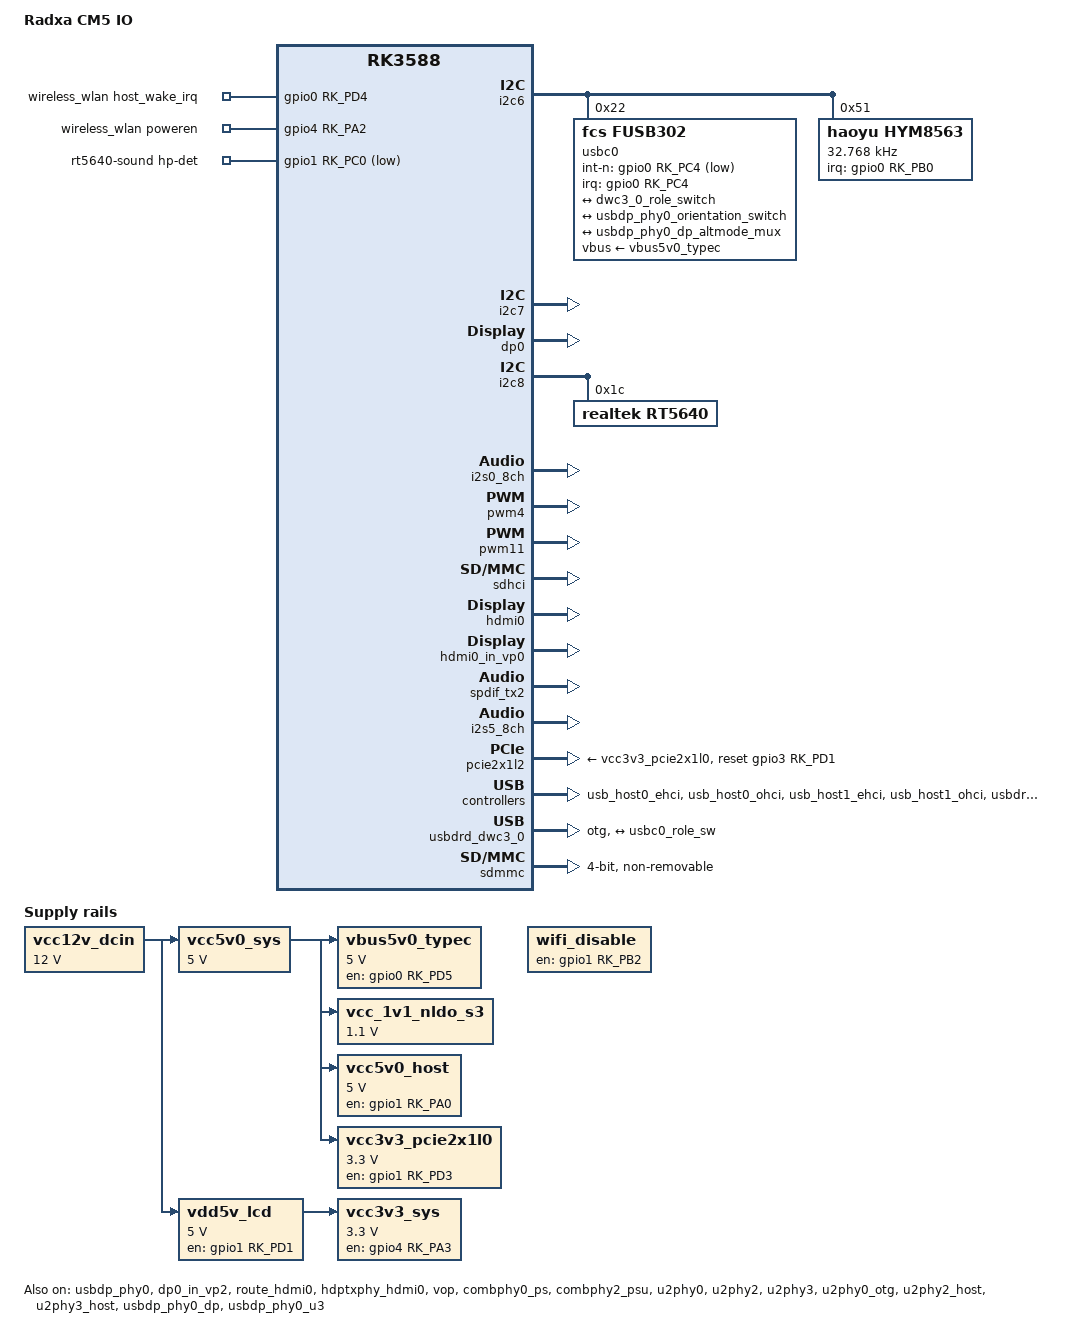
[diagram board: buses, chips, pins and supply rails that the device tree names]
// SPDX-License-Identifier: (GPL-2.0+ OR MIT)
/*
 * Copyright (c) 2023 Rockchip Electronics Co., Ltd.
 * Copyright (c) 2023 Radxa Limited
 *
 */

/dts-v1/;

#include "rk3588s-radxa-cm5.dtsi"

/ {
	model = "Radxa CM5 IO";
	compatible = "radxa,cm5-io", "radxa,cm5", "rockchip,rk3588";

	

sdio_pwrseq:sdio-pwrseq {
		compatible = "mmc-pwrseq-simple";
		clocks = < &hym8563 >;
		clock-names = "ext_clock";
		pinctrl-names = "default";
		pinctrl-0 = < &wifi_enable_h >;
		//reset-gpios = < &gpio4 RK_PA2 GPIO_ACTIVE_LOW >;
		
	};

	
wireless_wlan: wireless-wlan {
        compatible = "wlan-platdata";
		/* wifi_chip_type - wifi chip define
		* ap6210, ap6330, ap6335
		* rtl8188eu, rtl8723bs, rtl8723bu
		* esp8089
		*/
        wifi_chip_type = "rtl8821cs";  // 模块名称
        pinctrl-names = "default";
        pinctrl-0 = <&wifi_host_wake_irq>;  ///<&wifi_poweren_gpio>;
        WIFI,host_wake_irq = <&gpio0 RK_PD4 GPIO_ACTIVE_HIGH>; // wifi模块唤醒CPU
        WIFI,poweren_gpio = <&gpio4 RK_PA2 GPIO_ACTIVE_HIGH>;  // 控制wifi模块电源
        status = "okay";
};



	/delete-node/ chosen;


	vcc12v_dcin: vcc12v-dcin {
		compatible = "regulator-fixed";
		regulator-name = "vcc12v_dcin";
		regulator-always-on;
		regulator-boot-on;
		regulator-min-microvolt = <12000000>;
		regulator-max-microvolt = <12000000>;
	};

	vcc5v0_sys: vcc5v0-sys {
		compatible = "regulator-fixed";
		regulator-name = "vcc5v0_sys";
		regulator-always-on;
		regulator-boot-on;
		regulator-min-microvolt = <5000000>;
		regulator-max-microvolt = <5000000>;
		vin-supply = <&vcc12v_dcin>;
	};

	vbus5v0_typec: vbus5v0-typec {
		compatible = "regulator-fixed";
		regulator-name = "vbus5v0_typec";
		gpio = <&gpio0 RK_PD5 GPIO_ACTIVE_HIGH>;
		pinctrl-names = "default";
		pinctrl-0 = <&vbus5v0_typec_en>;
		enable-active-high;
		regulator-min-microvolt = <5000000>;
		regulator-max-microvolt = <5000000>;
		vin-supply = <&vcc5v0_sys>;
	};

	vcc_1v1_nldo_s3: vcc-1v1-nldo-s3 {
		compatible = "regulator-fixed";
		regulator-name = "vcc_1v1_nldo_s3";
		regulator-always-on;
		regulator-boot-on;
		regulator-min-microvolt = <1100000>;
		regulator-max-microvolt = <1100000>;
		vin-supply = <&vcc5v0_sys>;
	};

	hdmi0_sound: hdmi0-sound {
		status = "okay";
		compatible = "rockchip,hdmi";
		rockchip,mclk-fs = <128>;
		rockchip,card-name = "rockchip-hdmi0";
		rockchip,cpu = <&i2s5_8ch>;
		rockchip,codec = <&hdmi0>;
		rockchip,jack-det;
	};

	dp0_sound: dp0-sound {
		status = "okay";
		compatible = "rockchip,hdmi";
		rockchip,card-name= "rockchip-hdmi1";
		rockchip,mclk-fs = <512>;
		rockchip,cpu = <&spdif_tx2>;
		rockchip,codec = <&dp0 1>;
		rockchip,jack-det;
	};

	
	vdd5v_lcd: vcc5v-lcd {
		compatible = "regulator-fixed";
		regulator-name = "vdd5v_lcd";
		regulator-always-on;
		regulator-boot-on;
		regulator-min-microvolt = <5000000>;
		regulator-max-microvolt = <5000000>;
		enable-active-high;
		gpio = <&gpio1 RK_PD1 GPIO_ACTIVE_HIGH>;
		pinctrl-names = "default";
		pinctrl-0 = <&vdd5v_lcd_en>;
		vin-supply = <&vcc12v_dcin>;
	};

	

		
	rt5640-sound {
		compatible = "rockchip,multicodecs-card";
		rockchip,card-name = "rockchip,rt5640-codec";
		
		hp-det-gpio = <&gpio1 RK_PC0 GPIO_ACTIVE_LOW>;  // 耳机插入检测 GPIO
		
		rockchip,format = "i2s";
		rockchip,mclk-fs = <256>;
		rockchip,cpu = <&i2s0_8ch>;
		rockchip,codec = <&rt5640>;  // 使用 RT5640 编解码器

		rockchip,audio-routing =
			// 耳机和扬声器路径
			"Headphone", "HPOL",
			"Headphone", "HPOR",
			"Speaker", "SPOLP",
			"Speaker", "SPORP",
			"Headphone", "Headphone Power",
			"Headphone", "Headphone Power",
			"Speaker", "Speaker Power",
			"Speaker", "Speaker Power",
			"IN1P", "Main Mic",
			"IN2P", "Headset Mic";
			

		pinctrl-names = "default";
		pinctrl-0 = <&hp_det>;
	};



	vcc3v3_sys: vcc3v3-sys {
		compatible = "regulator-fixed";
		regulator-name = "vcc3v3_sys";
		regulator-always-on;
		regulator-boot-on;
		regulator-min-microvolt = <3300000>;
		regulator-max-microvolt = <3300000>;
		enable-active-high;
		gpio = <&gpio4 RK_PA3 GPIO_ACTIVE_HIGH>;
		pinctrl-names = "default";
		pinctrl-0 = <&vcc3v3_sys_en>;
		vin-supply = <&vdd5v_lcd>;
	};

	vcc5v0_host: vcc5v0-host-regulator {
		compatible = "regulator-fixed";
		regulator-name = "vcc5v0_host";
		regulator-boot-on;
		regulator-always-on;
		regulator-min-microvolt = <5000000>;
		regulator-max-microvolt = <5000000>;
		enable-active-high;
		gpio = <&gpio1 RK_PA0 GPIO_ACTIVE_HIGH>;
		pinctrl-names = "default";
		pinctrl-0 = <&vcc5v0_host_en>;
		vin-supply = <&vcc5v0_sys>;
	};

	vcc3v3_pcie2x1l0: vcc3v3-pcie2x1l0 {
		compatible = "regulator-fixed";
		regulator-name = "vcc3v3_pcie2x1l0";
		regulator-min-microvolt = <3300000>;
		regulator-max-microvolt = <3300000>;
		enable-active-high;
		regulator-boot-on;
		regulator-always-on;
		gpios = <&gpio1 RK_PD3 GPIO_ACTIVE_HIGH>;
		startup-delay-us = <50000>;
		vin-supply = <&vcc5v0_sys>;
	};

	wifi_disable: wifi-diable-gpio-regulator {
		compatible = "regulator-fixed";
		regulator-name = "wifi_disable";
		enable-active-high;
		gpio = <&gpio1 RK_PB2 GPIO_ACTIVE_HIGH>;
		regulator-boot-on;
		regulator-always-on;
	};

};

&i2c6 {
	status = "okay";
	pinctrl-names = "default";
	pinctrl-0 = <&i2c6m3_xfer>;

	usbc0: fusb302@22 {
		compatible = "fcs,fusb302";
		reg = <0x22>;
		interrupt-parent = <&gpio0>;
		interrupts = <RK_PC4 IRQ_TYPE_LEVEL_LOW>;
		int-n-gpios = <&gpio0 RK_PC4 GPIO_ACTIVE_LOW>;
		pinctrl-names = "default";
		pinctrl-0 = <&usbc0_int>;
		vbus-supply = <&vbus5v0_typec>;
		status = "okay";

		ports {
			#address-cells = <1>;
			#size-cells = <0>;
			port@0 {
			reg = <0>;
			usbc0_role_sw: endpoint@0 {
				remote-endpoint = <&dwc3_0_role_switch>;
				};
			};
		};

		usb_con: connector {
			compatible = "usb-c-connector";
			label = "USB-C";
			data-role = "dual";
			power-role = "dual";
			try-power-role = "sink";
			op-sink-microwatt = <1000000>;

			sink-pdos =
				<PDO_FIXED(5000, 1000, PDO_FIXED_USB_COMM)>;
			source-pdos =
				<PDO_FIXED(5000, 3000, PDO_FIXED_USB_COMM)>;

			altmodes {
				#address-cells = <1>;
				#size-cells = <0>;

				altmode@0 {
					reg = <0>;
					svid = <0xff01>;
					vdo = <0xffffffff>;
				};
			};

			ports {
				#address-cells = <1>;
				#size-cells = <0>;

				port@0 {
					reg = <0>;
					usbc0_orien_sw: endpoint {
						remote-endpoint = <&usbdp_phy0_orientation_switch>;
					};
				};

				port@1 {
					reg = <1>;
					dp_altmode_mux: endpoint {
						remote-endpoint = <&usbdp_phy0_dp_altmode_mux>;
					};
				};
			};
		};
	};

	hym8563: hym8563@51 {
		compatible = "haoyu,hym8563";
		reg = <0x51>;
		#clock-cells = <0>;
		clock-frequency = <32768>;
		clock-output-names = "hym8563";
		pinctrl-names = "default";
		pinctrl-0 = <&rtc_int>;
		interrupt-parent = <&gpio0>;
		interrupts = <RK_PB0 IRQ_TYPE_LEVEL_LOW>;
	};
};

&i2c7 {
	status = "okay";
	pinctrl-names = "default";
	pinctrl-0 = <&i2c7m2_xfer>;
};


&usbdp_phy0 {
	status = "okay";
	orientation-switch;
	svid = <0xff01>;
	sbu1-dc-gpios = <&gpio3 RK_PC4 GPIO_ACTIVE_HIGH>;
	sbu2-dc-gpios = <&gpio3 RK_PD4 GPIO_ACTIVE_HIGH>;

	port {
		#address-cells = <1>;
		#size-cells = <0>;
		usbdp_phy0_orientation_switch: endpoint@0 {
			reg = <0>;
			remote-endpoint = <&usbc0_orien_sw>;
		};

		usbdp_phy0_dp_altmode_mux: endpoint@1 {
			reg = <1>;
			remote-endpoint = <&dp_altmode_mux>;
		};
	};
}; 

&dp0 {
	status = "okay";
};

&dp0_in_vp2 {
	status = "okay";
};



&i2c8 {
	status = "okay";
	pinctrl-0 = <&i2c8m2_xfer>;
   
		rt5640: rt5640@1c {
		compatible = "realtek,rt5640";
		reg = <0x1c>;
		clocks = <&mclkout_i2s0>;
		clock-names = "mclk";
        realtek,in1-differential;
        realtek,in2-differential;
		assigned-clocks = <&mclkout_i2s0>;
		assigned-clock-rates = <12288000>;
		pinctrl-names = "default";
		pinctrl-0 = <&i2s0_mclk>;
		sound-dai-cells = <0>;
		status = "okay";
	};
	
};

&i2s0_8ch {
	status = "okay";
	rockchip,playback-channels = <2>;
	rockchip,capture-channels = <2>;
	#sound-dai-cells = <0>;
	pinctrl-names = "default";
	pinctrl-0 = <&i2s0_lrck
			 &i2s0_sclk
			 &i2s0_sdi0
			 &i2s0_sdo0>;
};


&pwm4 {
	status = "okay";
	pinctrl-0 = <&pwm4m0_pins>;
};

&pwm11 {
	status = "okay";
	pinctrl-0 = <&pwm11m3_pins>;
};

&threshold {
	temperature = <60000>;
};


&sdhci {
	status = "okay";
};

&hdmi0 {
	status = "okay";
};

&hdmi0_in_vp0 {
	status = "okay";
};

&route_hdmi0 {
	status = "okay";
};

&spdif_tx2 {
	status = "okay";
};

&hdptxphy_hdmi0 {
	status = "okay";
};

&i2s5_8ch {
	status = "okay";
};

&vop {
	status = "okay";
};

&vop_mmu {
	status = "okay";
};

&vp0 {
	rockchip,plane-mask = <(1 << ROCKCHIP_VOP2_CLUSTER0 | 1 << ROCKCHIP_VOP2_ESMART0)>;
	rockchip,primary-plane = <ROCKCHIP_VOP2_CLUSTER0>;
	cursor-win-id =<ROCKCHIP_VOP2_ESMART0>;
};

&vp1 {
	rockchip,plane-mask = <(1 << ROCKCHIP_VOP2_CLUSTER1 | 1 << ROCKCHIP_VOP2_ESMART1)>;
	rockchip,primary-plane = <ROCKCHIP_VOP2_CLUSTER1>;
	cursor-win-id =<ROCKCHIP_VOP2_ESMART1>;
};

&vp2 {
	rockchip,plane-mask = <(1 << ROCKCHIP_VOP2_CLUSTER2 | 1 << ROCKCHIP_VOP2_ESMART2)>;
	rockchip,primary-plane = <ROCKCHIP_VOP2_CLUSTER2>;
	cursor-win-id =<ROCKCHIP_VOP2_ESMART2>;
};

&vp3 {
	rockchip,plane-mask = <(1 << ROCKCHIP_VOP2_CLUSTER3 | 1 << ROCKCHIP_VOP2_ESMART3)>;
	rockchip,primary-plane = <ROCKCHIP_VOP2_CLUSTER3>;
	cursor-win-id =<ROCKCHIP_VOP2_ESMART3>;
};

&display_subsystem {
	clocks = <&hdptxphy_hdmi0>;
	clock-names = "hdmi0_phy_pll";
};

&hdptxphy_hdmi0 {
	status = "okay";
};

&pinctrl {

	usb {
		vcc5v0_host_en: vcc5v0-host-en {
			rockchip,pins = <1 RK_PA0 RK_FUNC_GPIO &pcfg_pull_none>;
		};
	};

	lcd {
		vcc3v3_sys_en: vcc3v3-sys-en {
			rockchip,pins = <4 RK_PA3 RK_FUNC_GPIO &pcfg_pull_none>;
		};
		vdd5v_lcd_en: vdd5v-lcd-en {
			rockchip,pins = <1 RK_PD1 RK_FUNC_GPIO &pcfg_pull_none>;
		};
	};

	headphone {
		hp_det: hp-det {
			rockchip,pins = <1 RK_PC0 RK_FUNC_GPIO &pcfg_pull_up>;
		};
	};


	fusb302 {
		vbus5v0_typec_en: vbus5v0-typec-en {
			rockchip,pins = <0 RK_PD5 RK_FUNC_GPIO &pcfg_pull_none>;
		};

		usbc0_int: usbc0-int {
			rockchip,pins = <0 RK_PC4 RK_FUNC_GPIO &pcfg_pull_up>;
		};
	};

	hym8563 {
		rtc_int: rtc-int {
			rockchip,pins = <0 RK_PB0 RK_FUNC_GPIO &pcfg_pull_up>;
		};
	};
};

&pcie2x1l2 {
	reset-gpios = <&gpio3 RK_PD1 GPIO_ACTIVE_HIGH>;
	vpcie3v3-supply = <&vcc3v3_pcie2x1l0>;
	status = "okay";
};

&combphy0_ps {
	status = "okay";
};

&combphy2_psu {
	status = "okay";
};

&u2phy0 {
	status = "okay";
};

&u2phy2 {
	status = "okay";
};

&u2phy3 {
	status = "okay";
};

&u2phy0_otg {
	rockchip,typec-vbus-det;
	status = "okay";
};

&u2phy2_host {
	status = "okay";
};

&u2phy3_host {
	status = "okay";
};

&usb_host0_ehci {
	status = "okay";
};

&usb_host0_ohci {
	status = "okay";
};

&usb_host1_ehci {
	status = "okay";
};

&usb_host1_ohci {
	status = "okay";
};

&usbdp_phy0_dp {
	status = "okay";
};

&usbdp_phy0_u3 {
	status = "okay";
};

&usbdrd3_0 {
	status = "okay";
};

&usbdrd_dwc3_0 {
	dr_mode = "otg";
	status = "okay";

	usb-role-switch;
	port {
		#address-cells = <1>;
		#size-cells = <0>;
		dwc3_0_role_switch: endpoint@0 {
			reg = <0>;
			remote-endpoint = <&usbc0_role_sw>;
		};
	};
};

&usbhost3_0 {
	status = "okay";
};

&usbhost_dwc3_0 {
	status = "okay";
};

&gpio0 {
	gpio-line-names =
		/* GPIO0_A0-A3 */
		"", "", "", "",
		/* GPIO0_A4-A7 */
		"", "", "", "",

		/* GPIO0_B0-B3 */
		"", "", "", "",
		/* GPIO0_B4-B7 */
		"", "PIN_8", "PIN_10", "",

		/* GPIO0_C0-C3 */
		"", "", "PIN_12", "",
		/* GPIO0_C4-C7 */
		"", "", "", "PIN_31",

		/* GPIO0_D0-D3 */
		"PIN_29", "", "", "PIN_40",
		/* GPIO0_D4-D7 */
		"", "", "", "";
};

&gpio1 {
	gpio-line-names =
		/* GPIO1_A0-A3 */
		"", "", "", "",
		/* GPIO1_A4-A7 */
		"", "", "", "",

		/* GPIO1_B0-B3 */
		"", "PIN_22", "", "",
		/* GPIO1_B4-B7 */
		"", "", "", "PIN_32",

		/* GPIO1_C0-C3 */
		"", "PIN_33", "", "",
		/* GPIO1_C4-C7 */
		"PIN_16", "", "PIN_36", "",

		/* GPIO1_D0-D3 */
		"", "", "PIN_38", "",
		/* GPIO1_D4-D7 */
		"", "PIN_18", "PIN_28", "PIN_27";
};

&gpio2 {
	gpio-line-names =
		/* GPIO2_A0-A3 */
		"", "", "", "",
		/* GPIO2_A4-A7 */
		"", "", "", "",

		/* GPIO2_B0-B3 */
		"", "", "", "",
		/* GPIO2_B4-B7 */
		"", "", "", "",

		/* GPIO2_C0-C3 */
		"", "", "", "",
		/* GPIO2_C4-C7 */
		"", "", "", "",

		/* GPIO2_D0-D3 */
		"", "", "", "",
		/* GPIO2_D4-D7 */
		"", "", "", "";
};

&gpio3 {
	gpio-line-names =
		/* GPIO3_A0-A3 */
		"", "", "", "",
		/* GPIO3_A4-A7 */
		"", "", "", "",

		/* GPIO3_B0-B3 */
		"", "", "", "",
		/* GPIO3_B4-B7 */
		"", "", "", "PIN_26",

		/* GPIO3_C0-C3 */
		"PIN_35", "", "", "",
		/* GPIO3_C4-C7 */
		"", "", "", "",

		/* GPIO3_D0-D3 */
		"", "", "PIN_5", "PIN_3",
		/* GPIO3_D4-D7 */
		"", "", "", "";
};

&gpio4 {
	gpio-line-names =
		/* GPIO4_A0-A3 */
		"PIN_21", "PIN_19", "PIN_23", "",
		/* GPIO4_A4-A7 */
		"PIN_15", "PIN_13", "PIN_11", "PIN_7",

		/* GPIO4_B0-B3 */
		"", "", "PIN_24", "",
		/* GPIO4_B4-B7 */
		"", "", "", "",

		/* GPIO4_C0-C3 */
		"", "", "", "",
		/* GPIO4_C4-C7 */
		"", "", "", "",

		/* GPIO4_D0-D3 */
		"", "", "", "",
		/* GPIO4_D4-D7 */
		"", "", "", "";
};

&pinctrl {
		sdio-pwrseq {
		wifi_enable_h: wifi-enable-h {
			rockchip,pins = < 4 RK_PA2 RK_FUNC_GPIO &pcfg_pull_none >;
		};
	};
};

&pinctrl {
		wireless-wlan {
		wifi_host_wake_irq: wifi-host-wake-irq {
			rockchip,pins = < 0 RK_PD4 RK_FUNC_GPIO &pcfg_pull_down>;
		};
	};
};


&sdmmc {
	max-frequency = <150000000>;
	no-sd;
	no-mmc;
	bus-width = <4>;
	cap-sdio-irq;
	disable-wp;
	non-removable;
	mmc-pwrseq = <&sdio_pwrseq>;
	// cap-sd-highspeed;
	// sd-uhs-sdr104;
	// vmmc-supply = <&vcc_3v3_s3>;
	// vqmmc-supply = <&vccio_sd_s0>;
	pinctrl-names = "default";
	pinctrl-0 = <&sdmmc_bus4 &sdmmc_clk &sdmmc_cmd>;
	status = "okay";
};


&pinctrl {
    fan_pins {
        fan1_pins: fan1-pins {
            rockchip,pins = <1 RK_PB6 RK_FUNC_GPIO &pcfg_pull_up>;  // GPIO1_B6_u，默认拉高
        };

        fan2_pins: fan2-pins {
            rockchip,pins = <1 RK_PB7 RK_FUNC_GPIO &pcfg_pull_up>;  // GPIO1_B7_u，默认拉高
        };
    };

    gpio_pins {
        gpio_4_1_pins: gpio-4-1-pins {
            rockchip,pins = <1 RK_PC6 RK_FUNC_GPIO &pcfg_pull_up>;  // GPIO1_C6_d，默认拉高
        };

        gpio_4_2_pins: gpio-4-2-pins {
            rockchip,pins = <1 RK_PD5 RK_FUNC_GPIO &pcfg_pull_up>;  // GPIO1_D5_d，默认拉高
        };

        gpio_4_3_pins: gpio-4-3-pins {
            rockchip,pins = <1 RK_PC4 RK_FUNC_GPIO &pcfg_pull_up>;  // GPIO1_C4_d，默认拉高
        };

        gpio_4_4_pins: gpio-4-4-pins {
            rockchip,pins = <0 RK_PC2 RK_FUNC_GPIO &pcfg_pull_up>;  // GPIO0_C2_D，默认拉高
        };
    };

    usb_pins {
        usb2_0_ext_pins: usb2-0-ext-pins {
            rockchip,pins = <0 RK_PD3 RK_FUNC_GPIO &pcfg_pull_up>;  // GPIO0_D3_u，USB2.0 对外，默认拉高
        };

        usb2_0_pins: usb2-0-pins {
            rockchip,pins = <3 RK_PC0 RK_FUNC_GPIO &pcfg_pull_up>;  // GPIO3_C0_d，USB2.0 对外，默认拉高
        };
    };

    motor_pins {
        motor_vibration_pins: motor-vibration-pins {
            rockchip,pins = <3 RK_PB7 RK_FUNC_GPIO &pcfg_pull_up>;  // GPIO3_B7_d，震动马达，默认拉高
        };
    };

    power_pins {
        internal_power_pins: internal-power-pins {
            rockchip,pins = <4 RK_PA4 RK_FUNC_GPIO &pcfg_pull_up>;  // GPIO4_A4_d，内部模块供电，默认拉高
        };

        usb2_0_hub_pins: usb2-0-hub-pins {
            rockchip,pins = <4 RK_PA7 RK_FUNC_GPIO &pcfg_pull_up>;  // GPIO4_A7，USB2.0 HUB，默认拉高
        };
    };
};


&gpio1 {
    fan1 {
        pinctrl-names = "default";
        pinctrl-0 = <&fan1_pins>;
        output-high;
    };

    fan2 {
        pinctrl-names = "default";
        pinctrl-0 = <&fan2_pins>;
        output-high;
    };

    gpio_4_1 {
        pinctrl-names = "default";
        pinctrl-0 = <&gpio_4_1_pins>;
        output-high;
    };

    gpio_4_2 {
        pinctrl-names = "default";
        pinctrl-0 = <&gpio_4_2_pins>;
        output-high;
    };

    gpio_4_3 {
        pinctrl-names = "default";
        pinctrl-0 = <&gpio_4_3_pins>;
        output-high;
    };
};

&gpio0 {
    gpio_4_4 {
        pinctrl-names = "default";
        pinctrl-0 = <&gpio_4_4_pins>;
        output-high;
    };

    usb2_0_ext {
        pinctrl-names = "default";
        pinctrl-0 = <&usb2_0_ext_pins>;
        output-high;
    };
};

&gpio3 {
    usb2_0 {
        pinctrl-names = "default";
        pinctrl-0 = <&usb2_0_pins>;
        output-high;
    };

    motor_vibration {
        pinctrl-names = "default";
        pinctrl-0 = <&motor_vibration_pins>;
        output-high;
    };
};

&gpio4 {
    internal_power {
        pinctrl-names = "default";
        pinctrl-0 = <&internal_power_pins>;
        output-high;
    };

    usb2_0_hub {
        pinctrl-names = "default";
        pinctrl-0 = <&usb2_0_hub_pins>;
        output-high;
    };
};
